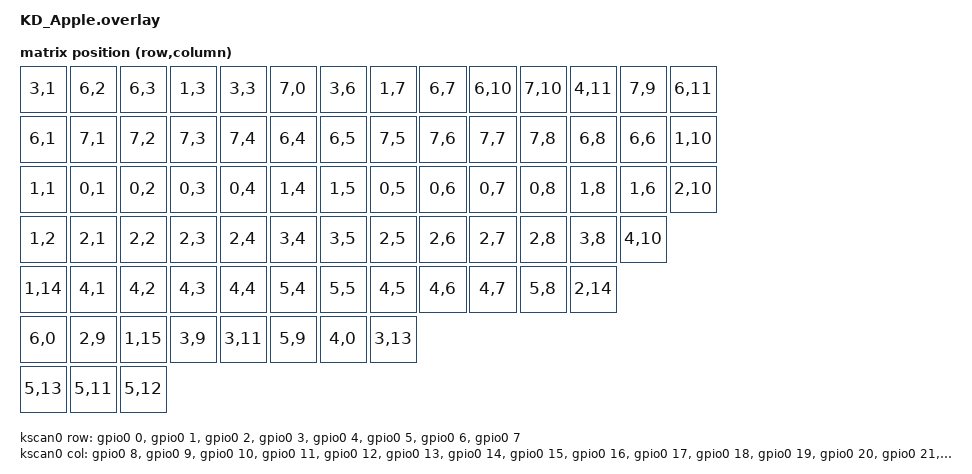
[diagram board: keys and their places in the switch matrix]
 #include <dt-bindings/zmk/matrix_transform.h>
 #include "KD_Apple-layouts.dtsi"

&code_partition {
    reg = <0x100 (DT_SIZE_M(2) - 0x100 - DT_SIZE_K(512))>;
};

&flash0 {
    reg = <0x10000000 DT_SIZE_M(2)>;

    partitions {
        storage_partition: partition@180000 {
            reg = <0x180000 DT_SIZE_K(512)>;
            read-only;
        };
    };
};


/ {
    chosen {
        zmk,kscan = &kscan0;
        zmk,physical-layout = &KD_Apple;
    };

    kscan0: kscan {
        compatible = "zmk,kscan-gpio-matrix";
        diode-direction = "col2row";

        col-gpios
            = <&gpio0 8 GPIO_ACTIVE_HIGH>
            , <&gpio0 9 GPIO_ACTIVE_HIGH>
            , <&gpio0 10 GPIO_ACTIVE_HIGH>
            , <&gpio0 11 GPIO_ACTIVE_HIGH>
            , <&gpio0 12 GPIO_ACTIVE_HIGH>
            , <&gpio0 13 GPIO_ACTIVE_HIGH>
            , <&gpio0 14 GPIO_ACTIVE_HIGH>
            , <&gpio0 15 GPIO_ACTIVE_HIGH>
            , <&gpio0 16 GPIO_ACTIVE_HIGH>
            , <&gpio0 17 GPIO_ACTIVE_HIGH>
            , <&gpio0 18 GPIO_ACTIVE_HIGH>
            , <&gpio0 19 GPIO_ACTIVE_HIGH>
            , <&gpio0 20 GPIO_ACTIVE_HIGH>
            , <&gpio0 21 GPIO_ACTIVE_HIGH>
            , <&gpio0 22 GPIO_ACTIVE_HIGH>
            , <&gpio0 23 GPIO_ACTIVE_HIGH>
            ;

        row-gpios
            = <&gpio0 0 (GPIO_ACTIVE_HIGH | GPIO_PULL_DOWN)>
            , <&gpio0 1 (GPIO_ACTIVE_HIGH | GPIO_PULL_DOWN)>
            , <&gpio0 2 (GPIO_ACTIVE_HIGH | GPIO_PULL_DOWN)>
            , <&gpio0 3 (GPIO_ACTIVE_HIGH | GPIO_PULL_DOWN)>
            , <&gpio0 4 (GPIO_ACTIVE_HIGH | GPIO_PULL_DOWN)>
            , <&gpio0 5 (GPIO_ACTIVE_HIGH | GPIO_PULL_DOWN)>
            , <&gpio0 6 (GPIO_ACTIVE_HIGH | GPIO_PULL_DOWN)>
            , <&gpio0 7 (GPIO_ACTIVE_HIGH | GPIO_PULL_DOWN)>
            ;

    };

    default_transform: default_transform {
        compatible = "zmk,matrix-transform";
        columns = <16>;
        rows = <8>;

        map = <
        RC(3,1) RC(6,2) RC(6,3) RC(1,3) RC(3,3) RC(7,0) RC(3,6) RC(1,7) RC(6,7) RC(6,10) RC(7,10) RC(4,11) RC(7,9) RC(6,11) 
        RC(6,1) RC(7,1) RC(7,2) RC(7,3) RC(7,4) RC(6,4) RC(6,5) RC(7,5) RC(7,6) RC(7,7)  RC(7,8)  RC(6,8)  RC(6,6) RC(1,10) 
        RC(1,1) RC(0,1) RC(0,2) RC(0,3) RC(0,4) RC(1,4) RC(1,5) RC(0,5) RC(0,6) RC(0,7)  RC(0,8)  RC(1,8)  RC(1,6) RC(2,10) 
        RC(1,2) RC(2,1) RC(2,2) RC(2,3) RC(2,4) RC(3,4) RC(3,5) RC(2,5) RC(2,6) RC(2,7)  RC(2,8)  RC(3,8)  RC(4,10) 
        RC(1,14) RC(4,1) RC(4,2) RC(4,3) RC(4,4) RC(5,4) RC(5,5) RC(4,5) RC(4,6) RC(4,7) RC(5,8) RC(2,14) 
        RC(6,0) RC(2,9) RC(1,15) RC(3,9) RC(3,11) RC(5,9) RC(4,0) RC(3,13) 
        RC(5,13) RC(5,11) RC(5,12) 
        >;

    };
};
